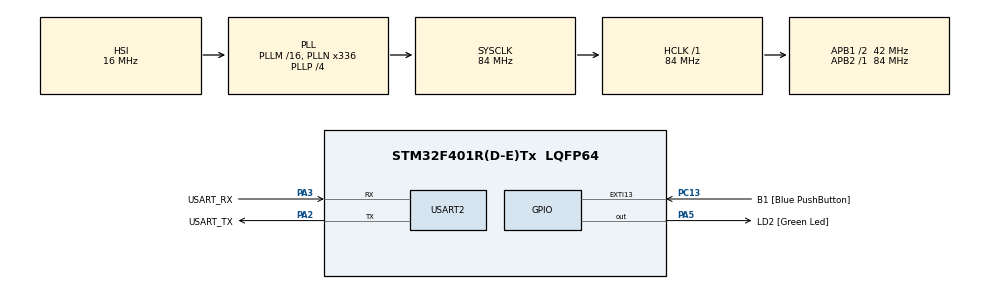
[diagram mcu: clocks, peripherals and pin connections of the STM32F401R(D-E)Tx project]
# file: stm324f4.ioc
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FREERTOS.Tasks01=defaultTask,24,128,StartDefaultTask,Default,NULL,Dynamic,NULL,NULL;BlinkTask,24,128,StartBlink,Default,NULL,Dynamic,NULL,NULL;UserButton,24,128,UserButtonTask,Default,NULL,Dynamic,NULL,NULL
FREERTOS.configCHECK_FOR_STACK_OVERFLOW=2
FREERTOS.configUSE_DAEMON_TASK_STARTUP_HOOK=1
FREERTOS.configUSE_IDLE_HOOK=1
FREERTOS.configUSE_MALLOC_FAILED_HOOK=1
FREERTOS.configUSE_NEWLIB_REENTRANT=1
FREERTOS.configUSE_TICK_HOOK=1
Mcu.Family=STM32F4
Mcu.Name=STM32F401R(D-E)Tx
Mcu.Package=LQFP64
NVIC.EXTI15_10_IRQn=true\:5\:0\:false\:false\:true\:true\:true\:true\:true
NVIC.PriorityGroup=NVIC_PRIORITYGROUP_4
NVIC.TIM5_IRQn=true\:15\:0\:false\:false\:true\:false\:false\:true\:true
NVIC.TimeBase=TIM5_IRQn
NVIC.TimeBaseIP=TIM5
PA13.GPIO_Label=TMS
PA13.Mode=Trace_Asynchronous_SW
PA13.Signal=SYS_JTMS-SWDIO
PA14.GPIO_Label=TCK
PA14.Mode=Trace_Asynchronous_SW
PA14.Signal=SYS_JTCK-SWCLK
PA2.GPIO_Label=USART_TX
PA2.GPIO_Mode=GPIO_MODE_AF_PP
PA2.GPIO_PuPd=GPIO_NOPULL
PA2.GPIO_Speed=GPIO_SPEED_FREQ_LOW
PA2.Mode=Asynchronous
PA2.Signal=USART2_TX
PA3.GPIO_Label=USART_RX
PA3.GPIO_Mode=GPIO_MODE_AF_PP
PA3.GPIO_PuPd=GPIO_NOPULL
PA3.GPIO_Speed=GPIO_SPEED_FREQ_LOW
PA3.Mode=Asynchronous
PA3.Signal=USART2_RX
PA5.GPIO_Label=LD2 [Green Led]
PA5.GPIO_Mode=GPIO_MODE_OUTPUT_PP
PA5.GPIO_PuPd=GPIO_NOPULL
PA5.GPIO_Speed=GPIO_SPEED_FREQ_LOW
PA5.Signal=GPIO_Output
PB3.GPIO_Label=SWO
PB3.Mode=Trace_Asynchronous_SW
PB3.Signal=SYS_JTDO-SWO
PC13-ANTI_TAMP.GPIO_Label=B1 [Blue PushButton]
PC13-ANTI_TAMP.GPIO_ModeDefaultEXTI=GPIO_MODE_IT_FALLING
PC13-ANTI_TAMP.GPIO_PuPd=GPIO_NOPULL
PC13-ANTI_TAMP.Signal=GPXTI13
PC14-OSC32_IN.Mode=LSE-External-Oscillator
PC14-OSC32_IN.Signal=RCC_OSC32_IN
PC15-OSC32_OUT.Mode=LSE-External-Oscillator
PC15-OSC32_OUT.Signal=RCC_OSC32_OUT
PH0\ -\ OSC_IN.Mode=HSE-External-Clock-Source
PH0\ -\ OSC_IN.Signal=RCC_OSC_IN
PH1\ -\ OSC_OUT.Mode=HSE-External-Clock-Source
PH1\ -\ OSC_OUT.Signal=RCC_OSC_OUT
ProjectManager.HeapSize=0x200
ProjectManager.StackSize=0x400
ProjectManager.TargetToolchain=CMake
RCC.48MHZClocksFreq_Value=48000000
RCC.AHBFreq_Value=84000000
RCC.APB1CLKDivider=RCC_HCLK_DIV2
RCC.APB1Freq_Value=42000000
RCC.APB1TimFreq_Value=84000000
RCC.APB2Freq_Value=84000000
RCC.APB2TimFreq_Value=84000000
RCC.CortexFreq_Value=84000000
RCC.HCLKFreq_Value=84000000
RCC.HSE_VALUE=8000000
RCC.HSI_VALUE=16000000
RCC.PLLN=336
RCC.PLLP=RCC_PLLP_DIV4
RCC.PLLQ=7
RCC.SYSCLKFreq_VALUE=84000000
RCC.SYSCLKSource=RCC_SYSCLKSOURCE_PLLCLK
RCC.VCOOutputFreq_Value=336000000
USART2.VirtualMode=VM_ASYNC
VP_FREERTOS_VS_CMSIS_V2.Mode=CMSIS_V2
VP_SYS_VS_tim5.Mode=TIM5
board=NUCLEO-F401RE

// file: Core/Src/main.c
/* USER CODE BEGIN Header */
/* USER CODE END Header */
#include "main.h"
#include "cmsis_os.h"

/* USER CODE BEGIN Includes */
#include <stdio.h>
/* USER CODE END Includes */

UART_HandleTypeDef huart2;

/* Definitions for defaultTask */
osThreadId_t defaultTaskHandle;
const osThreadAttr_t defaultTask_attributes = {
    .name = "defaultTask",
    .stack_size = 128 * 4,
    .priority = (osPriority_t)osPriorityNormal,
};
/* Definitions for BlinkTask */
osThreadId_t BlinkTaskHandle;
const osThreadAttr_t BlinkTask_attributes = {
    .name = "BlinkTask",
    .stack_size = 128 * 4,
    .priority = (osPriority_t)osPriorityNormal,
};
/* Definitions for UserButton */
osThreadId_t UserButtonHandle;
const osThreadAttr_t UserButton_attributes = {
    .name = "UserButton",
    .stack_size = 128 * 4,
    .priority = (osPriority_t)osPriorityNormal,
};
/* USER CODE BEGIN PV */
/* B1 interrupt -> UserButtonTask: released from the EXTI callback */
static osSemaphoreId_t buttonSemHandle;

/* Selectable blink periods (ms); a button press moves to the next one */
static const uint32_t blinkPeriods[] = {100, 250, 500, 1000};
static volatile uint32_t blinkPeriodMs = 500; /* written by UserButtonTask, read by BlinkTask */
/* Blink task -> default task: carries the LED toggle counter */
static osMessageQueueId_t ledQueueHandle;
/* USER CODE END PV */

void SystemClock_Config(void);
static void MX_GPIO_Init(void);
static void MX_USART2_UART_Init(void);
void StartDefaultTask(void *argument);
void StartBlink(void *argument);
void UserButtonTask(void *argument);

/* USER CODE BEGIN 0 */

/* Route printf() to USART2 (ST-Link virtual COM port). Called by syscalls.c _write().
 * Only defaultTask calls printf() after the scheduler starts, so no locking is needed. */
int __io_putchar(int ch)
{
  HAL_UART_Transmit(&huart2, (uint8_t *)&ch, 1, HAL_MAX_DELAY);
  return ch;
}
/* USER CODE END 0 */

int main(void)
{

  /* MCU Configuration--------------------------------------------------------*/

  /* Reset of all peripherals, Initializes the Flash interface and the Systick. */
  HAL_Init();

  /* Configure the system clock */
  SystemClock_Config();

  /* Initialize all configured peripherals */
  MX_GPIO_Init();
  MX_USART2_UART_Init();
  /* USER CODE BEGIN 2 */
  setvbuf(stdout, NULL, _IONBF, 0); /* no buffering: output appears immediately */
  printf("\r\nNucleo-F401RE FreeRTOS demo, SYSCLK = %lu Hz\r\n", HAL_RCC_GetSysClockFreq());
  /* USER CODE END 2 */

  /* Init scheduler */
  osKernelInitialize();

  /* USER CODE BEGIN RTOS_SEMAPHORES */
  /* binary semaphore, initially empty: given by the B1 interrupt */
  buttonSemHandle = osSemaphoreNew(1, 0, NULL);
  if (buttonSemHandle == NULL)
  {
    Error_Handler();
  }
  /* USER CODE END RTOS_SEMAPHORES */

  /* USER CODE BEGIN RTOS_QUEUES */
  /* up to 8 pending LED toggle counts (uint32_t each) */
  ledQueueHandle = osMessageQueueNew(8, sizeof(uint32_t), NULL);
  if (ledQueueHandle == NULL)
  {
    Error_Handler();
  }
  /* USER CODE END RTOS_QUEUES */

  /* Create the thread(s) */
  /* creation of defaultTask */
  defaultTaskHandle = osThreadNew(StartDefaultTask, NULL, &defaultTask_attributes);

  /* creation of BlinkTask */
  BlinkTaskHandle = osThreadNew(StartBlink, NULL, &BlinkTask_attributes);

  /* creation of UserButton */
  UserButtonHandle = osThreadNew(UserButtonTask, NULL, &UserButton_attributes);

  /* Start scheduler */
  osKernelStart();

  /* We should never get here as control is now taken by the scheduler */

  /* Infinite loop */

}

void SystemClock_Config(void)
{
  RCC_OscInitTypeDef RCC_OscInitStruct = {0};
  RCC_ClkInitTypeDef RCC_ClkInitStruct = {0};

  /** Configure the main internal regulator output voltage
   */
  __HAL_RCC_PWR_CLK_ENABLE();
  __HAL_PWR_VOLTAGESCALING_CONFIG(PWR_REGULATOR_VOLTAGE_SCALE2);

  /** Initializes the RCC Oscillators according to the specified parameters
   * in the RCC_OscInitTypeDef structure.
   */
  RCC_OscInitStruct.OscillatorType = RCC_OSCILLATORTYPE_HSI;
  RCC_OscInitStruct.HSIState = RCC_HSI_ON;
  RCC_OscInitStruct.HSICalibrationValue = RCC_HSICALIBRATION_DEFAULT;
  RCC_OscInitStruct.PLL.PLLState = RCC_PLL_ON;
  RCC_OscInitStruct.PLL.PLLSource = RCC_PLLSOURCE_HSI;
  RCC_OscInitStruct.PLL.PLLM = 16;
  RCC_OscInitStruct.PLL.PLLN = 336;
  RCC_OscInitStruct.PLL.PLLP = RCC_PLLP_DIV4;
  RCC_OscInitStruct.PLL.PLLQ = 7;
  if (HAL_RCC_OscConfig(&RCC_OscInitStruct) != HAL_OK)
  {
    Error_Handler();
  }

  /** Initializes the CPU, AHB and APB buses clocks
   */
  RCC_ClkInitStruct.ClockType = RCC_CLOCKTYPE_HCLK | RCC_CLOCKTYPE_SYSCLK | RCC_CLOCKTYPE_PCLK1 | RCC_CLOCKTYPE_PCLK2;
  RCC_ClkInitStruct.SYSCLKSource = RCC_SYSCLKSOURCE_PLLCLK;
  RCC_ClkInitStruct.AHBCLKDivider = RCC_SYSCLK_DIV1;
  RCC_ClkInitStruct.APB1CLKDivider = RCC_HCLK_DIV2;
  RCC_ClkInitStruct.APB2CLKDivider = RCC_HCLK_DIV1;

  if (HAL_RCC_ClockConfig(&RCC_ClkInitStruct, FLASH_LATENCY_2) != HAL_OK)
  {
    Error_Handler();
  }
}

static void MX_USART2_UART_Init(void)
{

  huart2.Instance = USART2;
  huart2.Init.BaudRate = 115200;
  huart2.Init.WordLength = UART_WORDLENGTH_8B;
  huart2.Init.StopBits = UART_STOPBITS_1;
  huart2.Init.Parity = UART_PARITY_NONE;
  huart2.Init.Mode = UART_MODE_TX_RX;
  huart2.Init.HwFlowCtl = UART_HWCONTROL_NONE;
  huart2.Init.OverSampling = UART_OVERSAMPLING_16;
  if (HAL_UART_Init(&huart2) != HAL_OK)
  {
    Error_Handler();
  }
}

static void MX_GPIO_Init(void)
{
  GPIO_InitTypeDef GPIO_InitStruct = {0};

  /* GPIO Ports Clock Enable */
  __HAL_RCC_GPIOC_CLK_ENABLE();
  __HAL_RCC_GPIOH_CLK_ENABLE();
  __HAL_RCC_GPIOA_CLK_ENABLE();
  __HAL_RCC_GPIOB_CLK_ENABLE();

  /*Configure GPIO pin Output Level */
  HAL_GPIO_WritePin(LD2_GPIO_Port, LD2_Pin, GPIO_PIN_RESET);

  /*Configure GPIO pin : B1_Pin */
  GPIO_InitStruct.Pin = B1_Pin;
  GPIO_InitStruct.Mode = GPIO_MODE_IT_FALLING;
  GPIO_InitStruct.Pull = GPIO_NOPULL;
  HAL_GPIO_Init(B1_GPIO_Port, &GPIO_InitStruct);

  /*Configure GPIO pin : LD2_Pin */
  GPIO_InitStruct.Pin = LD2_Pin;
  GPIO_InitStruct.Mode = GPIO_MODE_OUTPUT_PP;
  GPIO_InitStruct.Pull = GPIO_NOPULL;
  GPIO_InitStruct.Speed = GPIO_SPEED_FREQ_LOW;
  HAL_GPIO_Init(LD2_GPIO_Port, &GPIO_InitStruct);

  /* EXTI interrupt init*/
  HAL_NVIC_SetPriority(EXTI15_10_IRQn, 5, 0);
  HAL_NVIC_EnableIRQ(EXTI15_10_IRQn);

}

/* USER CODE BEGIN 4 */

/* Called by the HAL from the EXTI interrupt. Keep it short: just wake UserButtonTask. */
void HAL_GPIO_EXTI_Callback(uint16_t GPIO_Pin)
{
  if (GPIO_Pin == B1_Pin && buttonSemHandle != NULL)
  {
    osSemaphoreRelease(buttonSemHandle);
  }
}
/* USER CODE END 4 */

void StartDefaultTask(void *argument)
{
  /* USER CODE BEGIN 5 */
  uint32_t count;

  /* Infinite loop: sleep until BlinkTask reports a toggle, then print it */
  for (;;)
  {
    if (osMessageQueueGet(ledQueueHandle, &count, NULL, osWaitForever) == osOK)
    {
      printf("[%6lu ms] LED toggle #%lu (period %lu ms)\r\n",
             osKernelGetTickCount(), count, blinkPeriodMs);
    }
  }
  /* USER CODE END 5 */
}

void StartBlink(void *argument)
{
  /* USER CODE BEGIN StartBlink */
  uint32_t count = 0;

  /* Infinite loop */
  for (;;)
  {
    HAL_GPIO_TogglePin(LD2_GPIO_Port, LD2_Pin);
    count++;
    osMessageQueuePut(ledQueueHandle, &count, 0, 0); /* non-blocking: drop if full */
    osDelay(blinkPeriodMs);
  }
  /* USER CODE END StartBlink */
}

void UserButtonTask(void *argument)
{
  /* USER CODE BEGIN UserButtonTask */
  uint32_t index = 2; /* blinkPeriods[2] = 500 ms, matches the initial blinkPeriodMs */

  /* Infinite loop */
  for (;;)
  {
    /* sleep until the B1 interrupt gives the semaphore */
    osSemaphoreAcquire(buttonSemHandle, osWaitForever);

    /* debounce: wait for contact bounce to settle, then discard extra edges */
    osDelay(50);
    while (osSemaphoreAcquire(buttonSemHandle, 0) == osOK)
    {
    }

    /* B1 is active low: accept only if still pressed */
    if (HAL_GPIO_ReadPin(B1_GPIO_Port, B1_Pin) == GPIO_PIN_RESET)
    {
      index = (index + 1) % (sizeof(blinkPeriods) / sizeof(blinkPeriods[0]));
      blinkPeriodMs = blinkPeriods[index];
    }
  }
  /* USER CODE END UserButtonTask */
}

void HAL_TIM_PeriodElapsedCallback(TIM_HandleTypeDef *htim)
{
  if (htim->Instance == TIM5)
  {
    HAL_IncTick();
  }
}

void Error_Handler(void)
{
}

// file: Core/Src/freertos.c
/* USER CODE BEGIN Header */
/**
  ******************************************************************************
  * File Name          : freertos.c
  * Description        : Code for freertos applications
  ******************************************************************************
  * @attention
  *
  * Copyright (c) 2026 STMicroelectronics.
  * All rights reserved.
  *
  * This software is licensed under terms that can be found in the LICENSE file
  * in the root directory of this software component.
  * If no LICENSE file comes with this software, it is provided AS-IS.
  *
  ******************************************************************************
  */
/* USER CODE END Header */

#include "FreeRTOS.h"
#include "task.h"
#include "main.h"

/* Hook prototypes */
void vApplicationIdleHook(void);
void vApplicationTickHook(void);
void vApplicationStackOverflowHook(xTaskHandle xTask, signed char *pcTaskName);
void vApplicationMallocFailedHook(void);
void vApplicationDaemonTaskStartupHook(void);

/* USER CODE BEGIN 2 */
void vApplicationIdleHook( void )
{
   /* vApplicationIdleHook() will only be called if configUSE_IDLE_HOOK is set
   to 1 in FreeRTOSConfig.h. It will be called on each iteration of the idle
   task. It is essential that code added to this hook function never attempts
   to block in any way (for example, call xQueueReceive() with a block time
   specified, or call vTaskDelay()). If the application makes use of the
   vTaskDelete() API function (as this demo application does) then it is also
   important that vApplicationIdleHook() is permitted to return to its calling
   function, because it is the responsibility of the idle task to clean up
   memory allocated by the kernel to any task that has since been deleted. */
}
/* USER CODE END 2 */

/* USER CODE BEGIN 3 */
void vApplicationTickHook( void )
{
   /* This function will be called by each tick interrupt if
   configUSE_TICK_HOOK is set to 1 in FreeRTOSConfig.h. User code can be
   added here, but the tick hook is called from an interrupt context, so
   code must not attempt to block, and only the interrupt safe FreeRTOS API
   functions can be used (those that end in FromISR()). */
}
/* USER CODE END 3 */

/* USER CODE BEGIN 4 */
void vApplicationStackOverflowHook(xTaskHandle xTask, signed char *pcTaskName)
{
   /* Run time stack overflow checking is performed if
   configCHECK_FOR_STACK_OVERFLOW is defined to 1 or 2. This hook function is
   called if a stack overflow is detected. */
}
/* USER CODE END 4 */

/* USER CODE BEGIN 5 */
void vApplicationMallocFailedHook(void)
{
   /* vApplicationMallocFailedHook() will only be called if
   configUSE_MALLOC_FAILED_HOOK is set to 1 in FreeRTOSConfig.h. It is a hook
   function that will get called if a call to pvPortMalloc() fails.
   pvPortMalloc() is called internally by the kernel whenever a task, queue,
   timer or semaphore is created. It is also called by various parts of the
   demo application. If heap_1.c or heap_2.c are used, then the size of the
   heap available to pvPortMalloc() is defined by configTOTAL_HEAP_SIZE in
   FreeRTOSConfig.h, and the xPortGetFreeHeapSize() API function can be used
   to query the size of free heap space that remains (although it does not
   provide information on how the remaining heap might be fragmented). */
}
/* USER CODE END 5 */

/* USER CODE BEGIN DAEMON_TASK_STARTUP_HOOK */
void vApplicationDaemonTaskStartupHook(void)
{
}
/* USER CODE END DAEMON_TASK_STARTUP_HOOK */
